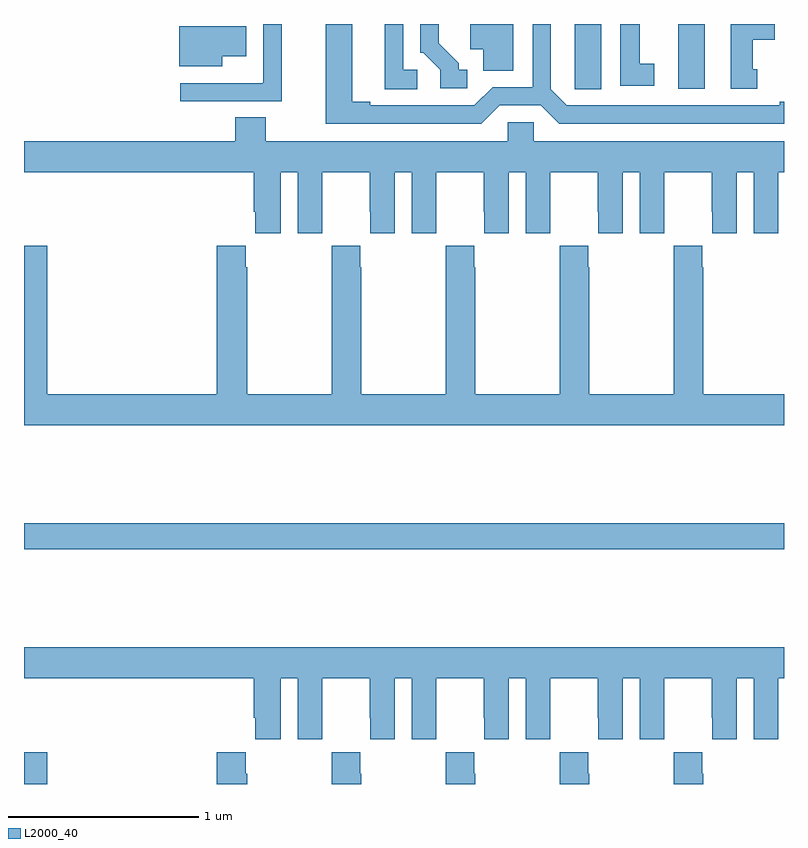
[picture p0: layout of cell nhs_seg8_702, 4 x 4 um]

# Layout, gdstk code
import gdstk
lib = gdstk.Library(unit=1e-6, precision=1e-09)
def R(c, l, rs):  # rectangles x0, y0, x1, y1
    for r in rs: c.add(gdstk.rectangle(r[:2], r[2:], *l))
def P(c, l, *ps):  # polygons
    for p in ps: c.add(gdstk.Polygon(p, *l))
L2000_40 = (2000, 40)

nhs_seg8_702 = lib.new_cell('nhs_seg8_702')
R(nhs_seg8_702, L2000_40, [(155,1159.9,155.123,1160.068), (155,1161.136,159,1161.272), (158.444,1163.559,158.584,1163.9)])
P(nhs_seg8_702, L2000_40, [(158.86,1163.661),(158.836,1163.661),(158.836,1163.816),(158.95,1163.816),(158.95,1163.9),(158.72,1163.9),(158.72,1163.559),(158.86,1163.559)],
  [(157.576,1163.9),(157.349,1163.9),(157.349,1163.768),(157.418,1163.768),(157.418,1163.653),(157.576,1163.653)],
  [(157.069,1163.658),(156.996,1163.658),(156.996,1163.9),(156.899,1163.9),(156.899,1163.557),(157.069,1163.557)],
  [(156.357,1163.9),(156.258,1163.9),(156.258,1163.59),(156.257,1163.59),(156.257,1163.589),(155.823,1163.589),(155.823,1163.493),(156.357,1163.493)],
  [(158.038,1163.9),(157.898,1163.9),(157.898,1163.665),(157.899,1163.665),(157.899,1163.557),(158.038,1163.557)],
  [(157.503,1163.472),(157.721,1163.472),(157.817,1163.376),(159,1163.376),(159,1163.492),(158.978,1163.492),(158.978,1163.472),(157.857,1163.472),(157.773,1163.556),(157.773,1163.9),(157.677,1163.9),(157.677,1163.568),(157.467,1163.568),(157.371,1163.472),(156.823,1163.472),(156.823,1163.492),(156.727,1163.492),(156.727,1163.9),(156.587,1163.9),(156.587,1163.376),(157.407,1163.376)],
  [(157.333,1163.658),(157.288,1163.658),(157.288,1163.693),(157.183,1163.798),(157.183,1163.9),(157.086,1163.9),(157.086,1163.748),(157.101,1163.748),(157.191,1163.658),(157.191,1163.562),(157.333,1163.562)],
  [(158.317,1163.69),(158.242,1163.69),(158.242,1163.9),(158.138,1163.9),(158.138,1163.574),(158.317,1163.574)],
  [(156.043,1163.729),(156.169,1163.729),(156.169,1163.887),(155.816,1163.887),(155.816,1163.678),(156.043,1163.678)],
  [(156.352,1163.12),(156.44,1163.12),(156.44,1162.8),(156.57,1162.8),(156.57,1162.912),(156.571,1162.912),(156.571,1163.12),(156.821,1163.12),(156.821,1162.912),(156.822,1162.912),(156.822,1162.8),(156.952,1162.8),(156.952,1163.12),(157.04,1163.12),(157.04,1162.8),(157.17,1162.8),(157.17,1162.912),(157.171,1162.912),(157.171,1163.12),(157.421,1163.12),(157.421,1162.912),(157.422,1162.912),(157.422,1162.8),(157.552,1162.8),(157.552,1163.12),(157.64,1163.12),(157.64,1162.8),(157.77,1162.8),(157.77,1162.912),(157.771,1162.912),(157.771,1163.12),(158.021,1163.12),(158.021,1162.912),(158.022,1162.912),(158.022,1162.8),(158.152,1162.8),(158.152,1163.12),(158.24,1163.12),(158.24,1162.8),(158.37,1162.8),(158.37,1162.912),(158.371,1162.912),(158.371,1163.12),(158.621,1163.12),(158.621,1162.912),(158.622,1162.912),(158.622,1162.8),(158.752,1162.8),(158.752,1163.12),(158.84,1163.12),(158.84,1162.8),(158.97,1162.8),(158.97,1162.912),(158.971,1162.912),(158.971,1163.12),(159,1163.12),(159,1163.284),(157.683,1163.284),(157.683,1163.382),(157.545,1163.382),(157.545,1163.284),(156.273,1163.284),(156.273,1163.408),(156.113,1163.408),(156.113,1163.284),(155,1163.284),(155,1163.12),(156.209,1163.12),(156.209,1162.912),(156.218,1162.912),(156.218,1162.8),(156.352,1162.8)],
  [(159,1161.952),(158.574,1161.952),(158.574,1162.619),(158.571,1162.619),(158.571,1162.732),(158.421,1162.732),(158.421,1162.619),(158.419,1162.619),(158.419,1161.952),(157.974,1161.952),(157.974,1162.619),(157.971,1162.619),(157.971,1162.732),(157.821,1162.732),(157.821,1162.619),(157.819,1162.619),(157.819,1161.952),(157.374,1161.952),(157.374,1162.619),(157.371,1162.619),(157.371,1162.732),(157.221,1162.732),(157.221,1162.619),(157.219,1162.619),(157.219,1161.952),(156.774,1161.952),(156.774,1162.619),(156.771,1162.619),(156.771,1162.732),(156.621,1162.732),(156.621,1162.619),(156.619,1162.619),(156.619,1161.952),(156.174,1161.952),(156.174,1162.619),(156.167,1162.619),(156.167,1162.732),(156.014,1162.732),(156.014,1161.952),(155.123,1161.952),(155.123,1162.732),(155,1162.732),(155,1161.788),(159,1161.788)],
  [(155,1160.456),(156.209,1160.456),(156.209,1160.248),(156.218,1160.248),(156.218,1160.136),(156.352,1160.136),(156.352,1160.456),(156.44,1160.456),(156.44,1160.136),(156.57,1160.136),(156.57,1160.248),(156.571,1160.248),(156.571,1160.456),(156.821,1160.456),(156.821,1160.248),(156.822,1160.248),(156.822,1160.136),(156.952,1160.136),(156.952,1160.456),(157.04,1160.456),(157.04,1160.136),(157.17,1160.136),(157.17,1160.248),(157.171,1160.248),(157.171,1160.456),(157.421,1160.456),(157.421,1160.248),(157.422,1160.248),(157.422,1160.136),(157.552,1160.136),(157.552,1160.456),(157.64,1160.456),(157.64,1160.136),(157.77,1160.136),(157.77,1160.248),(157.771,1160.248),(157.771,1160.456),(158.021,1160.456),(158.021,1160.248),(158.022,1160.248),(158.022,1160.136),(158.152,1160.136),(158.152,1160.456),(158.24,1160.456),(158.24,1160.136),(158.37,1160.136),(158.37,1160.248),(158.371,1160.248),(158.371,1160.456),(158.621,1160.456),(158.621,1160.248),(158.622,1160.248),(158.622,1160.136),(158.752,1160.136),(158.752,1160.456),(158.84,1160.456),(158.84,1160.136),(158.97,1160.136),(158.97,1160.248),(158.971,1160.248),(158.971,1160.456),(159,1160.456),(159,1160.62),(155,1160.62)],
  [(158.574,1159.955),(158.571,1159.955),(158.571,1160.068),(158.421,1160.068),(158.421,1159.955),(158.419,1159.955),(158.419,1159.9),(158.574,1159.9)],
  [(157.974,1159.955),(157.971,1159.955),(157.971,1160.068),(157.821,1160.068),(157.821,1159.955),(157.819,1159.955),(157.819,1159.9),(157.974,1159.9)],
  [(157.374,1159.955),(157.371,1159.955),(157.371,1160.068),(157.221,1160.068),(157.221,1159.955),(157.219,1159.955),(157.219,1159.9),(157.374,1159.9)],
  [(156.774,1159.955),(156.771,1159.955),(156.771,1160.068),(156.621,1160.068),(156.621,1159.955),(156.619,1159.955),(156.619,1159.9),(156.774,1159.9)],
  [(156.174,1159.955),(156.167,1159.955),(156.167,1160.068),(156.014,1160.068),(156.014,1159.9),(156.174,1159.9)])

lib.write_gds('nhs_seg8_702.gds')
